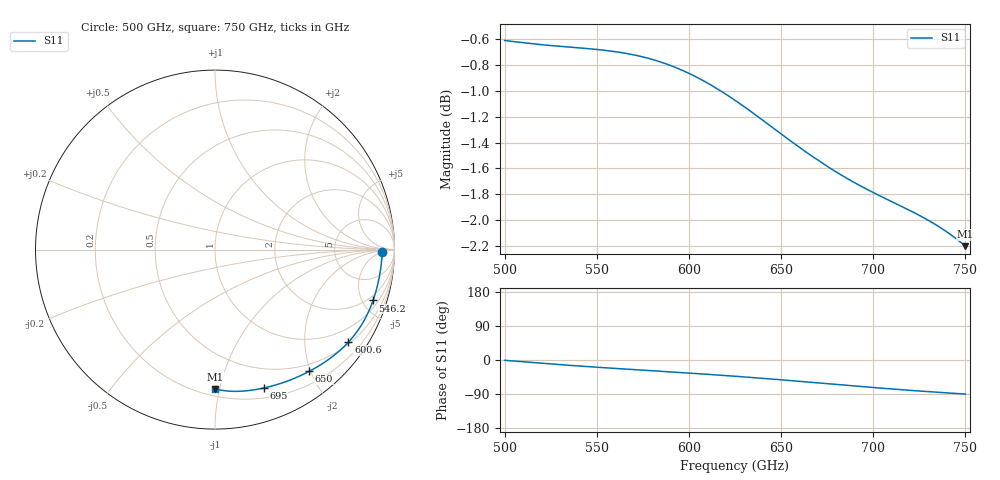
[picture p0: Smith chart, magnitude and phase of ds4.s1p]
# GHz S RI R 50.0
!freq	ReS11	ImS11
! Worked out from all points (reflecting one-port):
!   401 points, 500 GHz to 750 GHz, reference 50 ohm
!   lowest |S11| = -2.2 dB at 750 GHz (marker M1), VSWR 7.94, Z = 12.4 - j48.5 ohm
!   phase of S11 starts at -1 deg and turns -89 deg over the sweep
!   S11 on the Smith chart (normalised r, x): 500 GHz: 27, -5; 546.2 GHz: 1.53, -6.00; 600.6 GHz: 0.55, -3.11; 650 GHz: 0.39, -1.98; 695 GHz: 0.29, -1.37; 750 GHz: 0.25, -0.97
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500  0.9319 -0.0129
501.25  0.9315 -0.0208
515  0.923 -0.107
523.75  0.914 -0.1601
531.25  0.9043 -0.2034
538.75  0.8932 -0.2445
546.25  0.8806 -0.2833
554.375  0.8655 -0.3229
562.5  0.8489 -0.3603
578.75  0.81 -0.4298
593.75  0.7665 -0.4891
600.625  0.7437 -0.515
612.5  0.7 -0.5582
625  0.6477 -0.6012
637.5  0.5891 -0.6414
650  0.5248 -0.6784
656.25  0.491 -0.6954
671.875  0.4031 -0.7326
680  0.3565 -0.7486
687.5  0.3135 -0.7611
695  0.2711 -0.7713
706.875  0.2061 -0.783
718.75  0.1444 -0.7889
726.25  0.1074 -0.7897
734.375  0.0692 -0.7878
745  0.0221 -0.7811
748.75  0.00639 -0.7776
750  0.00126 -0.7763
